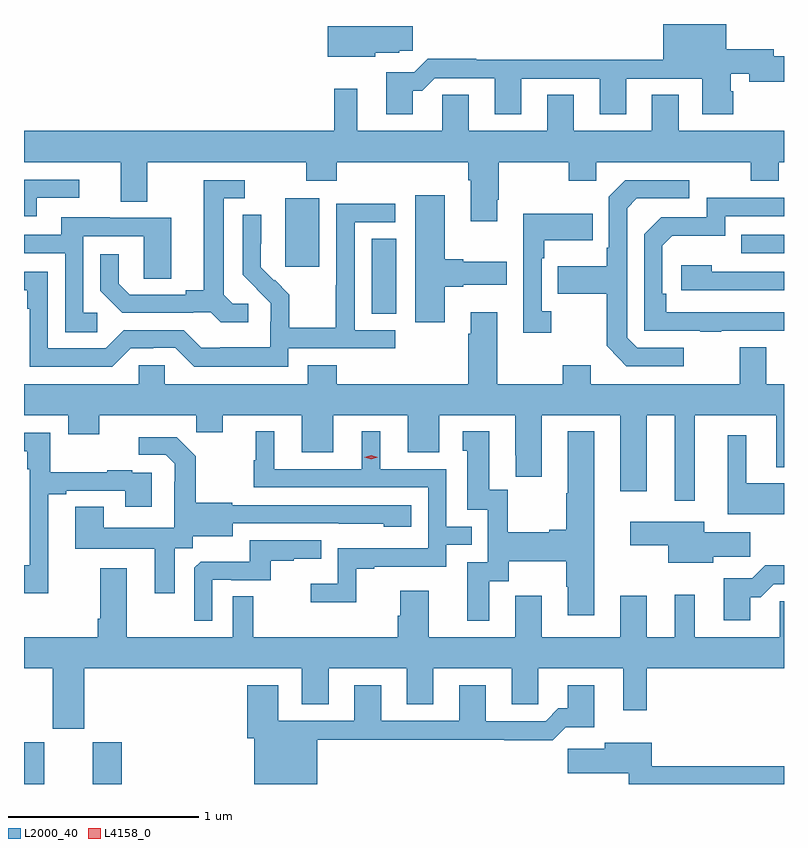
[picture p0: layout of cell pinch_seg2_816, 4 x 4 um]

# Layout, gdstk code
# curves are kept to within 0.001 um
import gdstk
lib = gdstk.Library(unit=1e-6, precision=1e-09)
def R(c, l, rs):  # rectangles x0, y0, x1, y1
    for r in rs: c.add(gdstk.rectangle(r[:2], r[2:], *l))
def P(c, l, *ps):  # polygons
    for p in ps: c.add(gdstk.Polygon(p, *l))
L2000_40 = (2000, 40)
L4158_0 = (4158, 0)

pinch_seg2_816 = lib.new_cell('pinch_seg2_816')
R(pinch_seg2_816, L2000_40, [(814.872,619.055,814.978,619.275), (815.234,619.055,815.387,619.275), (816.701,621.529,816.832,621.926), (816.248,621.777,816.427,622.138), (818.647,621.849,818.872,621.945)])
P(pinch_seg2_816, L2000_40, [(816.919,622.703),(816.968,622.703),(817.035,622.77),(817.349,622.77),(817.349,622.581),(817.489,622.581),(817.489,622.767),(817.901,622.767),(817.901,622.581),(818.041,622.581),(818.041,622.767),(818.441,622.767),(818.441,622.581),(818.606,622.581),(818.606,622.701),(818.593,622.701),(818.593,622.794),(818.69,622.794),(818.69,622.751),(818.872,622.751),(818.872,622.886),(818.818,622.886),(818.818,622.922),(818.569,622.922),(818.569,623.055),(818.237,623.055),(818.237,622.868),(817.253,622.868),(817.253,622.871),(816.998,622.871),(816.927,622.8),(816.779,622.8),(816.779,622.581),(816.919,622.581)],
  [(816.72,622.904),(816.846,622.904),(816.846,622.915),(816.919,622.915),(816.919,623.044),(816.47,623.044),(816.47,622.883),(816.72,622.883)],
  [(817.363,622.129),(817.371,622.129),(817.371,622.328),(817.738,622.328),(817.738,622.229),(817.884,622.229),(817.884,622.328),(818.698,622.328),(818.698,622.229),(818.845,622.229),(818.845,622.328),(818.872,622.328),(818.872,622.492),(818.317,622.492),(818.317,622.682),(818.177,622.682),(818.177,622.492),(817.765,622.492),(817.765,622.682),(817.625,622.682),(817.625,622.492),(817.213,622.492),(817.213,622.682),(817.074,622.682),(817.074,622.492),(816.625,622.492),(816.625,622.714),(816.504,622.714),(816.504,622.492),(814.872,622.492),(814.872,622.328),(815.381,622.328),(815.381,622.12),(815.521,622.12),(815.521,622.328),(816.358,622.328),(816.358,622.229),(816.518,622.229),(816.518,622.328),(817.211,622.328),(817.211,622.232),(817.223,622.232),(817.223,622.017),(817.363,622.017)],
  [(814.939,622.14),(815.164,622.14),(815.164,622.236),(814.872,622.236),(814.872,622.044),(814.939,622.044)],
  [(816.052,621.582),(815.97,621.582),(815.923,621.629),(815.923,622.137),(816.034,622.137),(816.034,622.233),(815.819,622.233),(815.819,621.653),(815.723,621.653),(815.723,621.63),(815.428,621.63),(815.371,621.687),(815.371,621.844),(815.274,621.844),(815.274,621.65),(815.39,621.534),(815.762,621.534),(815.762,621.537),(815.856,621.537),(815.908,621.485),(816.052,621.485)],
  [(818.344,621.351),(818.1,621.351),(818.046,621.405),(818.046,622.086),(818.097,622.137),(818.374,622.137),(818.374,622.233),(818.037,622.233),(817.95,622.146),(817.95,621.877),(817.938,621.877),(817.938,621.781),(817.681,621.781),(817.681,621.634),(817.938,621.634),(817.938,621.361),(818.043,621.255),(818.344,621.255)],
  [(817.087,621.671),(817.183,621.671),(817.183,621.683),(817.414,621.683),(817.414,621.805),(817.183,621.805),(817.183,621.818),(817.087,621.818),(817.087,622.153),(816.932,622.153),(816.932,621.486),(817.087,621.486)],
  [(818.543,621.441),(818.872,621.441),(818.872,621.537),(818.252,621.537),(818.252,621.634),(818.232,621.634),(818.232,621.888),(818.285,621.941),(818.562,621.941),(818.562,622.044),(818.872,622.044),(818.872,622.14),(818.466,622.14),(818.466,622.038),(818.226,622.038),(818.136,621.948),(818.136,621.441),(818.431,621.441),(818.431,621.436),(818.543,621.436)],
  [(816.264,621.348),(816.826,621.348),(816.826,621.444),(816.612,621.444),(816.612,622.011),(816.826,622.011),(816.826,622.11),(816.516,622.11),(816.516,621.68),(816.514,621.68),(816.514,621.457),(816.269,621.457),(816.269,621.631),(816.192,621.708),(816.189,621.705),(816.119,621.776),(816.12,622.052),(816.024,622.052),(816.024,621.734),(816.17,621.586),(816.17,621.489),(816.168,621.489),(816.168,621.355),(815.905,621.355),(815.905,621.351),(815.805,621.351),(815.712,621.444),(815.397,621.444),(815.301,621.348),(814.998,621.348),(814.998,621.75),(814.872,621.75),(814.872,621.654),(814.889,621.654),(814.889,621.557),(814.902,621.557),(814.902,621.252),(815.337,621.252),(815.433,621.348),(815.552,621.348),(815.552,621.351),(815.667,621.351),(815.767,621.251),(816.264,621.251)],
  [(817.648,621.542),(817.596,621.542),(817.596,621.821),(817.609,621.821),(817.609,621.917),(817.865,621.917),(817.865,622.057),(817.5,622.057),(817.5,621.429),(817.648,621.429)],
  [(815.257,621.534),(815.184,621.534),(815.184,621.939),(815.502,621.939),(815.502,621.715),(815.647,621.715),(815.647,622.035),(815.323,622.035),(815.323,622.039),(815.069,622.039),(815.069,621.945),(814.872,621.945),(814.872,621.849),(815.088,621.849),(815.088,621.433),(815.257,621.433)],
  [(818.872,621.75),(818.492,621.75),(818.492,621.784),(818.331,621.784),(818.331,621.654),(818.872,621.654)],
  [(816.365,621.16),(815.613,621.16),(815.613,621.258),(815.475,621.258),(815.475,621.16),(814.872,621.16),(814.872,620.996),(815.105,620.996),(815.105,620.897),(815.269,620.897),(815.269,620.996),(815.779,620.996),(815.779,620.906),(815.917,620.906),(815.917,620.996),(816.335,620.996),(816.335,620.802),(816.499,620.802),(816.499,620.996),(816.893,620.996),(816.893,620.802),(817.057,620.802),(817.057,620.996),(817.457,620.996),(817.457,620.785),(817.46,620.785),(817.46,620.673),(817.597,620.673),(817.597,620.996),(818.009,620.996),(818.009,620.595),(818.149,620.595),(818.149,620.996),(818.297,620.996),(818.297,620.547),(818.401,620.547),(818.401,620.996),(818.831,620.996),(818.831,620.723),(818.872,620.723),(818.872,621.16),(818.779,621.16),(818.779,621.355),(818.639,621.355),(818.639,621.16),(817.855,621.16),(817.855,621.259),(817.708,621.259),(817.708,621.16),(817.363,621.16),(817.363,621.538),(817.223,621.538),(817.223,621.425),(817.211,621.425),(817.211,621.16),(816.518,621.16),(816.518,621.259),(816.365,621.259)],
  [(816.621,620.187),(816.715,620.187),(816.715,620.199),(817.095,620.199),(817.095,620.313),(817.229,620.313),(817.229,620.409),(817.095,620.409),(817.095,620.712),(816.748,620.712),(816.748,620.911),(816.65,620.911),(816.65,620.712),(816.19,620.712),(816.19,620.911),(816.092,620.911),(816.092,620.76),(816.081,620.76),(816.081,620.616),(816.999,620.616),(816.999,620.295),(816.522,620.295),(816.522,620.11),(816.381,620.11),(816.381,620.012),(816.621,620.012)],
  [(817.321,620.122),(817.423,620.122),(817.423,620.228),(817.726,620.228),(817.726,620.094),(817.733,620.094),(817.733,619.944),(817.873,619.944),(817.873,620.911),(817.733,620.911),(817.733,620.585),(817.726,620.585),(817.726,620.393),(817.637,620.393),(817.637,620.38),(817.419,620.38),(817.419,620.603),(817.321,620.603),(817.321,620.911),(817.181,620.911),(817.181,620.808),(817.205,620.808),(817.205,620.499),(817.314,620.499),(817.314,620.223),(817.205,620.223),(817.205,619.914),(817.321,619.914)],
  [(814.999,620.58),(815.095,620.58),(815.095,620.598),(815.405,620.598),(815.405,620.514),(815.545,620.514),(815.545,620.694),(815.441,620.694),(815.441,620.707),(815.309,620.707),(815.309,620.696),(815.011,620.696),(815.011,620.904),(814.872,620.904),(814.872,620.807),(814.89,620.807),(814.89,620.711),(814.902,620.711),(814.902,620.206),(814.872,620.206),(814.872,620.058),(814.999,620.058)],
  [(818.872,620.638),(818.674,620.638),(818.674,620.89),(818.576,620.89),(818.576,620.474),(818.872,620.474)],
  [(815.665,620.296),(815.76,620.296),(815.76,620.36),(815.971,620.36),(815.971,620.427),(816.765,620.426),(816.765,620.408),(816.91,620.408),(816.91,620.523),(815.967,620.523),(815.967,620.536),(815.775,620.536),(815.775,620.781),(815.675,620.881),(815.475,620.881),(815.475,620.787),(815.619,620.787),(815.666,620.74),(815.666,620.645),(815.664,620.645),(815.664,620.404),(815.293,620.404),(815.293,620.513),(815.141,620.513),(815.141,620.294),(815.561,620.294),(815.561,620.058),(815.665,620.058)],
  [(818.5,620.251),(818.695,620.251),(818.695,620.38),(818.452,620.38),(818.452,620.434),(818.064,620.434),(818.064,620.312),(818.264,620.312),(818.264,620.219),(818.5,620.219)],
  [(815.862,620.13),(815.962,620.13),(815.962,620.127),(816.17,620.127),(816.17,620.229),(816.293,620.229),(816.293,620.24),(816.437,620.24),(816.437,620.337),(816.06,620.337),(816.06,620.225),(815.801,620.225),(815.769,620.193),(815.769,619.913),(815.862,619.913)],
  [(818.695,620.039),(818.75,620.039),(818.817,620.106),(818.872,620.106),(818.872,620.207),(818.774,620.207),(818.704,620.137),(818.555,620.137),(818.555,619.917),(818.695,619.917)],
  [(816.079,620.042),(815.97,620.042),(815.97,619.828),(815.413,619.828),(815.413,620.191),(815.273,620.191),(815.273,619.924),(815.261,619.924),(815.261,619.828),(814.872,619.828),(814.872,619.664),(815.024,619.664),(815.024,619.347),(815.188,619.347),(815.188,619.664),(816.335,619.664),(816.335,619.474),(816.475,619.474),(816.475,619.664),(816.887,619.664),(816.887,619.474),(817.027,619.474),(817.027,619.664),(817.439,619.664),(817.439,619.474),(817.578,619.474),(817.578,619.664),(818.027,619.664),(818.027,619.443),(818.149,619.443),(818.149,619.664),(818.872,619.664),(818.872,620.018),(818.85,620.018),(818.85,619.828),(818.401,619.828),(818.401,620.05),(818.297,620.05),(818.297,619.828),(818.149,619.828),(818.149,620.047),(818.009,620.047),(818.009,619.828),(817.597,619.828),(817.597,620.047),(817.457,620.047),(817.457,619.828),(817.003,619.828),(817.003,620.071),(816.851,620.071),(816.851,619.941),(816.839,619.941),(816.839,619.828),(816.079,619.828)],
  [(816.415,619.288),(817.399,619.288),(817.399,619.286),(817.655,619.286),(817.724,619.355),(817.873,619.355),(817.873,619.576),(817.733,619.576),(817.733,619.453),(817.684,619.453),(817.617,619.386),(817.303,619.386),(817.303,619.576),(817.163,619.576),(817.163,619.389),(816.751,619.389),(816.751,619.576),(816.611,619.576),(816.611,619.389),(816.211,619.389),(816.211,619.576),(816.047,619.576),(816.047,619.296),(816.083,619.296),(816.083,619.055),(816.415,619.055)],
  [(818.872,619.148),(818.177,619.148),(818.177,619.273),(817.928,619.273),(817.928,619.241),(817.734,619.241),(817.734,619.112),(818.054,619.112),(818.054,619.055),(818.872,619.055)])
P(pinch_seg2_816, L4158_0, [(816.699,620.764),(816.663,620.774),(816.663,620.774),(816.663,620.774),(816.699,620.784),(816.735,620.774),(816.735,620.774),(816.735,620.774)])

lib.write_gds('pinch_seg2_816.gds')
